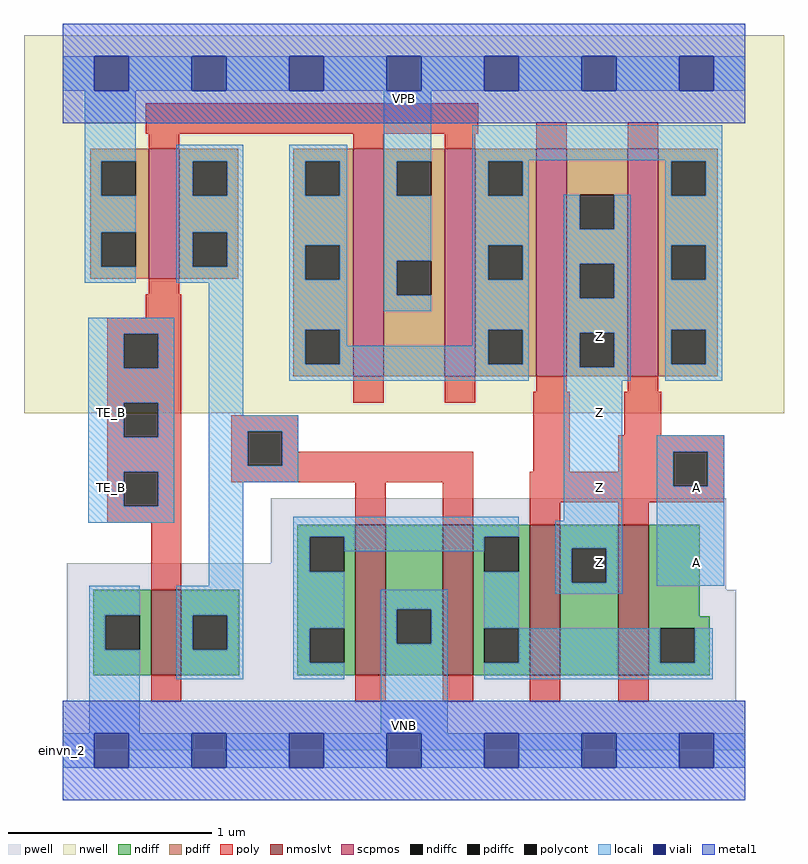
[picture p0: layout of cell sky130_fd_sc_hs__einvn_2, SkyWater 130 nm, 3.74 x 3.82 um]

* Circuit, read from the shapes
.subckt sky130_fd_sc_hs__einvn_2 A TE_B VGND VNB VPB VPWR Z
XM1 n1 TE_B VGND VNB sky130_fd_pr__nfet_01v8_lvt w=0.42 l=0.15
XM2 VGND n1 n2 VNB sky130_fd_pr__nfet_01v8_lvt w=0.74 l=0.15 m=2
XM3 Z A n2 VNB sky130_fd_pr__nfet_01v8_lvt w=0.74 l=0.15 m=2
XM4 n1 TE_B VPWR VPB sky130_fd_pr__pfet_01v8 w=0.64 l=0.15
XM5 VPWR TE_B n3 VPB sky130_fd_pr__pfet_01v8 w=1.12 l=0.15 m=2
XM6 Z A n3 VPB sky130_fd_pr__pfet_01v8 w=1.12 l=0.15 m=2
.ends

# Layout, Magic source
magic
tech sky130A
magscale 1 2
<< nwell >>
rect -38 332 710 704
<< pwell >>
rect 205 184 653 248
rect 4 158 653 184
rect 4 49 663 158
rect 0 0 672 49
<< scpmos >>
rect 85 464 115 592
rect 286 368 316 592
rect 376 368 406 592
rect 466 368 496 592
rect 556 368 586 592
<< nmoslvt >>
rect 87 74 117 158
rect 288 74 318 222
rect 374 74 404 222
rect 460 74 490 222
rect 547 74 577 222
<< ndiff >>
rect 231 210 288 222
rect 231 176 243 210
rect 277 176 288 210
rect 30 133 87 158
rect 30 99 42 133
rect 76 99 87 133
rect 30 74 87 99
rect 117 133 174 158
rect 117 99 128 133
rect 162 99 174 133
rect 117 74 174 99
rect 231 120 288 176
rect 231 86 243 120
rect 277 86 288 120
rect 231 74 288 86
rect 318 139 374 222
rect 318 105 329 139
rect 363 105 374 139
rect 318 74 374 105
rect 404 210 460 222
rect 404 176 415 210
rect 449 176 460 210
rect 404 120 460 176
rect 404 86 415 120
rect 449 86 460 120
rect 404 74 460 86
rect 490 199 547 222
rect 490 165 501 199
rect 535 165 547 199
rect 490 74 547 165
rect 577 132 627 222
rect 577 120 637 132
rect 577 86 588 120
rect 622 86 637 120
rect 577 74 637 86
<< pdiff >>
rect 27 580 85 592
rect 27 546 38 580
rect 72 546 85 580
rect 27 510 85 546
rect 27 476 38 510
rect 72 476 85 510
rect 27 464 85 476
rect 115 580 173 592
rect 115 546 128 580
rect 162 546 173 580
rect 115 510 173 546
rect 115 476 128 510
rect 162 476 173 510
rect 115 464 173 476
rect 227 580 286 592
rect 227 546 239 580
rect 273 546 286 580
rect 227 497 286 546
rect 227 463 239 497
rect 273 463 286 497
rect 227 414 286 463
rect 227 380 239 414
rect 273 380 286 414
rect 227 368 286 380
rect 316 580 376 592
rect 316 546 329 580
rect 363 546 376 580
rect 316 482 376 546
rect 316 448 329 482
rect 363 448 376 482
rect 316 368 376 448
rect 406 580 466 592
rect 406 546 419 580
rect 453 546 466 580
rect 406 497 466 546
rect 406 463 419 497
rect 453 463 466 497
rect 406 414 466 463
rect 406 380 419 414
rect 453 380 466 414
rect 406 368 466 380
rect 496 547 556 592
rect 496 513 509 547
rect 543 513 556 547
rect 496 479 556 513
rect 496 445 509 479
rect 543 445 556 479
rect 496 411 556 445
rect 496 377 509 411
rect 543 377 556 411
rect 496 368 556 377
rect 586 580 645 592
rect 586 546 599 580
rect 633 546 645 580
rect 586 497 645 546
rect 586 463 599 497
rect 633 463 645 497
rect 586 414 645 463
rect 586 380 599 414
rect 633 380 645 414
rect 586 368 645 380
<< ndiffc >>
rect 243 176 277 210
rect 42 99 76 133
rect 128 99 162 133
rect 243 86 277 120
rect 329 105 363 139
rect 415 176 449 210
rect 415 86 449 120
rect 501 165 535 199
rect 588 86 622 120
<< pdiffc >>
rect 38 546 72 580
rect 38 476 72 510
rect 128 546 162 580
rect 128 476 162 510
rect 239 546 273 580
rect 239 463 273 497
rect 239 380 273 414
rect 329 546 363 580
rect 329 448 363 482
rect 419 546 453 580
rect 419 463 453 497
rect 419 380 453 414
rect 509 513 543 547
rect 509 445 543 479
rect 509 377 543 411
rect 599 546 633 580
rect 599 463 633 497
rect 599 380 633 414
<< poly >>
rect 82 607 409 637
rect 85 592 115 607
rect 286 592 316 607
rect 376 592 406 607
rect 466 592 496 618
rect 556 592 586 618
rect 85 449 115 464
rect 82 426 117 449
rect 44 410 117 426
rect 44 376 60 410
rect 94 376 117 410
rect 44 342 117 376
rect 286 342 316 368
rect 376 342 406 368
rect 466 353 496 368
rect 556 353 586 368
rect 44 308 60 342
rect 94 308 117 342
rect 44 274 117 308
rect 44 240 60 274
rect 94 240 117 274
rect 166 314 232 330
rect 166 280 182 314
rect 216 294 232 314
rect 216 280 404 294
rect 166 264 404 280
rect 463 274 499 353
rect 553 310 589 353
rect 547 294 651 310
rect 547 274 601 294
rect 44 224 117 240
rect 87 158 117 224
rect 288 222 318 264
rect 374 222 404 264
rect 460 260 601 274
rect 635 260 651 294
rect 460 244 651 260
rect 460 222 490 244
rect 547 222 577 244
rect 87 48 117 74
rect 288 48 318 74
rect 374 48 404 74
rect 460 48 490 74
rect 547 48 577 74
<< polycont >>
rect 60 376 94 410
rect 60 308 94 342
rect 60 240 94 274
rect 182 280 216 314
rect 601 260 635 294
<< locali >>
rect 0 649 31 683
rect 65 649 127 683
rect 161 649 223 683
rect 257 649 319 683
rect 353 649 415 683
rect 449 649 511 683
rect 545 649 607 683
rect 641 649 672 683
rect 22 580 72 649
rect 22 546 38 580
rect 22 510 72 546
rect 22 476 38 510
rect 22 460 72 476
rect 112 580 178 596
rect 112 546 128 580
rect 162 546 178 580
rect 112 510 178 546
rect 112 476 128 510
rect 162 476 178 510
rect 112 460 178 476
rect 25 410 110 426
rect 25 376 60 410
rect 94 376 110 410
rect 25 342 110 376
rect 25 308 60 342
rect 94 308 110 342
rect 25 274 110 308
rect 25 240 60 274
rect 94 240 110 274
rect 25 224 110 240
rect 144 330 178 460
rect 223 580 280 596
rect 223 546 239 580
rect 273 546 280 580
rect 223 497 280 546
rect 223 463 239 497
rect 273 463 280 497
rect 223 414 280 463
rect 316 580 363 649
rect 316 546 329 580
rect 316 482 363 546
rect 316 448 329 482
rect 316 432 363 448
rect 403 581 649 615
rect 403 580 459 581
rect 403 546 419 580
rect 453 546 459 580
rect 593 580 649 581
rect 403 497 459 546
rect 403 463 419 497
rect 453 463 459 497
rect 223 380 239 414
rect 273 398 280 414
rect 403 414 459 463
rect 403 398 419 414
rect 273 380 419 398
rect 453 380 459 414
rect 223 364 459 380
rect 493 513 509 547
rect 543 513 559 547
rect 493 479 559 513
rect 493 445 509 479
rect 543 445 559 479
rect 493 411 559 445
rect 493 377 509 411
rect 543 377 559 411
rect 493 364 559 377
rect 593 546 599 580
rect 633 546 649 580
rect 593 497 649 546
rect 593 463 599 497
rect 633 463 649 497
rect 593 414 649 463
rect 593 380 599 414
rect 633 380 649 414
rect 593 364 649 380
rect 144 314 232 330
rect 144 280 182 314
rect 216 280 232 314
rect 144 264 232 280
rect 144 162 178 264
rect 26 133 76 162
rect 26 99 42 133
rect 26 17 76 99
rect 112 133 178 162
rect 112 99 128 133
rect 162 99 178 133
rect 112 70 178 99
rect 227 210 449 230
rect 493 226 551 364
rect 227 176 243 210
rect 277 196 415 210
rect 227 120 277 176
rect 227 86 243 120
rect 227 70 277 86
rect 313 139 379 158
rect 313 105 329 139
rect 363 105 379 139
rect 313 17 379 105
rect 415 120 449 176
rect 485 199 551 226
rect 485 165 501 199
rect 535 165 551 199
rect 485 154 551 165
rect 585 294 651 310
rect 585 260 601 294
rect 635 260 651 294
rect 585 162 651 260
rect 449 86 588 120
rect 622 86 640 120
rect 415 70 640 86
rect 0 -17 31 17
rect 65 -17 127 17
rect 161 -17 223 17
rect 257 -17 319 17
rect 353 -17 415 17
rect 449 -17 511 17
rect 545 -17 607 17
rect 641 -17 672 17
<< viali >>
rect 31 649 65 683
rect 127 649 161 683
rect 223 649 257 683
rect 319 649 353 683
rect 415 649 449 683
rect 511 649 545 683
rect 607 649 641 683
rect 31 -17 65 17
rect 127 -17 161 17
rect 223 -17 257 17
rect 319 -17 353 17
rect 415 -17 449 17
rect 511 -17 545 17
rect 607 -17 641 17
<< metal1 >>
rect 0 683 672 715
rect 0 649 31 683
rect 65 649 127 683
rect 161 649 223 683
rect 257 649 319 683
rect 353 649 415 683
rect 449 649 511 683
rect 545 649 607 683
rect 641 649 672 683
rect 0 617 672 649
rect 0 17 672 49
rect 0 -17 31 17
rect 65 -17 127 17
rect 161 -17 223 17
rect 257 -17 319 17
rect 353 -17 415 17
rect 449 -17 511 17
rect 545 -17 607 17
rect 641 -17 672 17
rect 0 -49 672 -17
<< labels >>
rlabel comment s 0 0 0 0 4 einvn_2
flabel pwell s 0 0 672 49 0 FreeSans 200 0 0 0 VNB
port 4 nsew ground bidirectional
flabel nwell s 0 617 672 666 0 FreeSans 200 0 0 0 VPB
port 5 nsew power bidirectional
flabel metal1 s 0 617 672 666 0 FreeSans 340 0 0 0 VPWR
port 6 nsew power bidirectional
flabel metal1 s 0 0 672 49 0 FreeSans 340 0 0 0 VGND
port 3 nsew ground bidirectional
flabel locali s 31 242 65 276 0 FreeSans 340 0 0 0 TE_B
port 2 nsew signal input
flabel locali s 31 316 65 350 0 FreeSans 340 0 0 0 TE_B
port 2 nsew signal input
flabel locali s 607 168 641 202 0 FreeSans 340 0 0 0 A
port 1 nsew signal input
flabel locali s 607 242 641 276 0 FreeSans 340 0 0 0 A
port 1 nsew signal input
flabel locali s 511 168 545 202 0 FreeSans 340 0 0 0 Z
port 7 nsew signal output
flabel locali s 511 242 545 276 0 FreeSans 340 0 0 0 Z
port 7 nsew signal output
flabel locali s 511 316 545 350 0 FreeSans 340 0 0 0 Z
port 7 nsew signal output
flabel locali s 511 390 545 424 0 FreeSans 340 0 0 0 Z
port 7 nsew signal output
<< properties >>
string LEFsite unit
string LEFclass CORE
string FIXED_BBOX 0 0 672 666
string GDS_FILE $PDKPATH/libs.ref/sky130_fd_sc_hs/gds/sky130_fd_sc_hs.gds
string LEFsymmetry X Y
string GDS_END 2285258
string GDS_START 2278312
<< end >>
